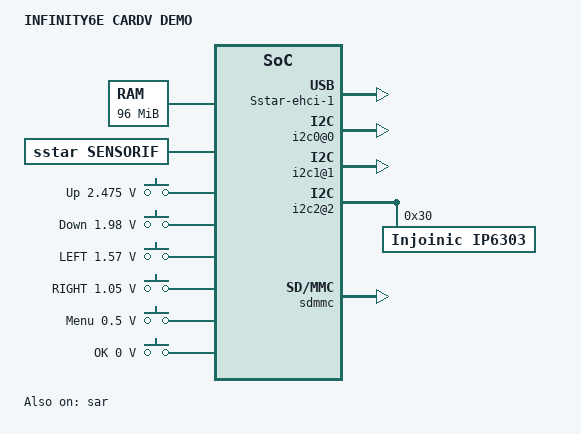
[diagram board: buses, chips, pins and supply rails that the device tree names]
/*
 * Copyright (c) 2014 MundoReader S.L.
 * Author: Matthias Brugger <matthias.bgg@gmail.com>
 *
 * This program is free software; you can redistribute it and/or modify
 * it under the terms of the GNU General Public License as published by
 * the Free Software Foundation; either version 2 of the License, or
 * (at your option) any later version.
 *
 * This program is distributed in the hope that it will be useful,
 * but WITHOUT ANY WARRANTY; without even the implied warranty of
 * MERCHANTABILITY or FITNESS FOR A PARTICULAR PURPOSE.  See the
 * GNU General Public License for more details.
 */

 /*
 * Memory Layout
 * 0x20000000-0x24000000 64M Kernel
 * 0x24000000-0x24800000 8M  system
 * 0x24800000-0x24900000 1M  data
 * 0x24900000-0x25000000 7M  temp0
 * 0x25000000-0x28000000 48M temp1
 */
/dts-v1/;

#include "infinity6e.dtsi"
#include "infinity6e-padmux-cardv.dtsi"
#define SNR_PAD_24PIN_IMX415	0

/ {
    model = "INFINITY6E CARDV DEMO";
    compatible = "sstar,infinity6e";

    memory {
        reg = <0x20000000 0x06000000>;
    };

    chosen {
        bootargs = "console=ttyS0,38400n8r androidboot.console=ttyS0 root=/dev/mtdblock0 init=/linuxrc LX_MEM=0x3ee0000 mma_heap=mma_heap_name0,miu=0,sz=0x2000000 mma_memblock_remove=1";
    };

    /*!!IMPORTANT!! The reserved memory must be 1MB aligned*/
    /*
    reserved-memory {
        #address-cells = <1>;
        #size-cells = <1>;
        ranges;

        cma0 {
            compatible = "shared-dma-pool";
            reusable;
            size = <0x04000000>;
            alignment = <0x1000>;
            linux,cma-default;
        };
    };
    */
    cpus {
          cpu@0 {
            	operating-points = <
                	/* kHz     uV */
                	1200000  950000
                	1100000  950000
                	1000000  900000
                	900000   900000
                	800000   900000
                	600000   900000
                	400000   900000
            	>;
          };
	};       
    soc {
        /* mipi0 4lane setting */
        #if SNR_PAD_24PIN_IMX415
        csi {
            /* Config lane selection */
            csi_sr0_lane_select = <2 4 3 1 0>;
            csi_sr1_lane_select = <2 0 1 3 4>;
            csi_sr2_lane_select = <0 0 0>;
            /* Config lane P/N swap */
            csi_sr0_lane_pn_swap = <1 1 1 1>;
            csi_sr1_lane_pn_swap = <0 0 0 0 0>;
            csi_sr2_lane_pn_swap = <0 0 0>;
        };
        #else
        csi {
            /* Config lane selection */
            csi_sr0_lane_select = <2 1 3 0 4>;
            csi_sr1_lane_select = <2 0 1 3 4>;
            csi_sr2_lane_select = <0 0 0>;
            /* Config lane P/N swap */
            csi_sr0_lane_pn_swap = <0 0 0 0 0>;
            csi_sr1_lane_pn_swap = <0 0 0 0 0>;
            csi_sr2_lane_pn_swap = <0 0 0>;
        };
        #endif

        /* mipi0 4lane setting */
        vif {
            /* Config sensor 0 pad mux */
            vif_sr0_par_mode = <2>;
            vif_sr0_mipi_mode = <1>;
            vif_sr0_bt656_mode = <1>;
            vif_sr0_mclk_mode = <0>;
            //vif_sr0_rst_mode  = <0>;
            //vif_sr0_pdn_mode  = <0>;
            vif_sr0_parallel_rst_mode  = <0>;
            vif_sr0_parallel_pdn_mode  = <0>;
            vif_sr0_mipi_rst_mode  = <0>;
            vif_sr0_mipi_pdn_mode  = <0>;
            vif_sr0_mipi_ctrl_mode = <1>;
            //vif_sr0_hvsync_mode  = <0>; /* Not used in I6E */
            //vif_sr0_pck_mode  = <0>; /* Not used in I6E */
            /* Config sensor 1 pad mux */
            vif_sr1_par_mode = <0>;
            vif_sr1_mipi_mode = <2>;
            vif_sr1_bt656_mode = <0>;
            vif_sr1_mipi_ctrl_mode = <0>;
            vif_sr1_mclk_mode = <2>;
            vif_sr1_rst_mode  = <2>;
            /* Config sensor 2 pad mux */
            vif_sr2_mipi_mode = <0>; /* MIPI sensor only */
            vif_sr2_mipi_ctrl_mode = <0>;
            vif_sr2_mclk_mode = <0>;
            vif_sr2_rst_mode  = <0>;
        };

        sensorif: sensorif {
            compatible = "sstar,sensorif";
            status = "ok";
            sensorif_grp0_i2c = <1>;
            sensorif_grp1_i2c = <0>;
            sensorif_grp2_i2c = <1>;
        };
        
        pnl: pnl {
            compatible = "sstar,pnl";
            ttl-16bit-mode = <3>; //1~4 mode
        };
        
        iopower {
            pm_sar_atop_vddp1 = <0>; /* 0: 1.8V 1: 3.3V */
            pm_sar_atop_pmspi = <0>; /* 0: 1.8V 1: 3.3V */
            status = "disabled";
        };
        
       Sstar-ehci-1 {
            compatible = "Sstar-ehci-1";
            power-enable-pad = <PAD_UNKNOWN>;
        };
        
        i2c0@0{
            compatible = "sstar,i2c";
            /*
             * padmux: 1 -> PAD_I2C0_SCL, PAD_I2C0_SDA
             *         2 -> PAD_ETH_LED0, PAD_ETH_LED1
             *         3 -> PAD_GPIO6, PAD_GPIO7
             *         4 -> PAD_SR1_IO00, PAD_SR1_IO01
             *         5 -> PAD_GPIO12, PAD_GPIO13
            */
            i2c-padmux = <2>;
        };

        i2c1@1{
            compatible = "sstar,i2c";
            /*
             * padmux: 1 -> PAD_SR0_IO18, PAD_SR0_IO19
             *         2 -> PAD_GPIO0, PAD_GPIO1
             *         3 -> PAD_SR0_IO18, PAD_SR0_IO19
            */
            i2c-padmux = <1>;
        };

        i2c2@2{
            compatible = "sstar,i2c";
            i2c-speed = <2>;
            /*
             * padmux: 1 -> PAD_SR1_IO18, PAD_SR1_IO19
             *         2 -> PAD_PWM0, PAD_PWM1
             *         3 -> PAD_ETH_LED0, PAD_ETH_LED1
             *         4 -> PAD_PM_I2CM_SCL, PAD_PM_I2CM_SDA
             *         5 -> PAD_PM_GPIO0, PAD_PM_GPIO1
            */
            i2c-padmux = <4>;
            Injoinic@30 {
                compatible = "Injoinic,ip6303";
                reg = <0x30>;
                //interrupts = <1>;
                //interrupt-parent = <&intcmux4>;
                pmu_irq_gpio = <PAD_FUART_CTS>;
                DC1_VSET = <1000>;/* corepower */
                DC2_VSET = <1500>;/* ddram3  */
                DC3_VSET = <3300>;/* VDD_3V3   */
                LDO2_VSET = <1250>;/* AHD1V2   */
                LDO3_VSET = <3300>;/* AHD3V3   */
                LDO4_VSET = <1200>;/* unused   */
                LDO5_VSET = <1800>;/* VDD_1V8   */
                //interrupt-controller;
                //#interrupt-cells = <1>;
                //maxim,tsc-irq = <0>;
            };
        };

        sound {
            compatible = "sstar,audio";
            amp-gpio = <PAD_PM_GPIO4  1>;
        };

        sdmmc {
            compatible = "sstar,sdmmc";
            slot-fakecdzs = <0>,<1>,<0>;
            slot-pad-orders = <0>,<2>,<2>;
            slot-sdio-use = <0>,<1>,<0>;
            slot-removable = <1>,<1>,<1>;
        };

        sar: sar {
            compatible = "sstar,infinity-sar";
            reg = <0x1F002800 0x200>;
            #io-channel-cells = <1>;
            status = "ok";
        };

        #include <dt-bindings/input/input.h>
        adc-keys {
            compatible = "adc-keys";
            //io-channels = <&sar 0>;
			io-channels = <0>;
            io-channel-names = "buttons";
            poll-interval=<100>;
            keyup-threshold-microvolt = <3100000>;

            button-up {
                label = "Up";
                linux,code = <KEY_UP>;
                press-threshold-microvolt = <2475000>;
            };

            button-down {
                label = "Down";
                linux,code = <KEY_DOWN>;
                press-threshold-microvolt = <1980000>;
            };
            button-left {
                label = "LEFT";
                linux,code = <KEY_LEFT>;
                press-threshold-microvolt = <1570000>;
            };

            button-right {
                label = "RIGHT";
                linux,code = <KEY_RIGHT>;
                press-threshold-microvolt = <1050000>;
            };
		    button-menu {
		    	label = "Menu";
		    	linux,code = <KEY_MENU>;
		    	press-threshold-microvolt = <500000>;
		    };
            button-enter {
                label = "OK";
                linux,code = <KEY_ENTER>;
                press-threshold-microvolt = <000000>;
            };
        };
    };
};

&clks {
    #include <../../../../drivers/sstar/include/infinity6e/reg_clks.h>
    CLK_odclk: CLK_odclk {
        #clock-cells = <0>;
        compatible = "sstar,composite-clock";
        auto-enable = <1>;
    };
};
